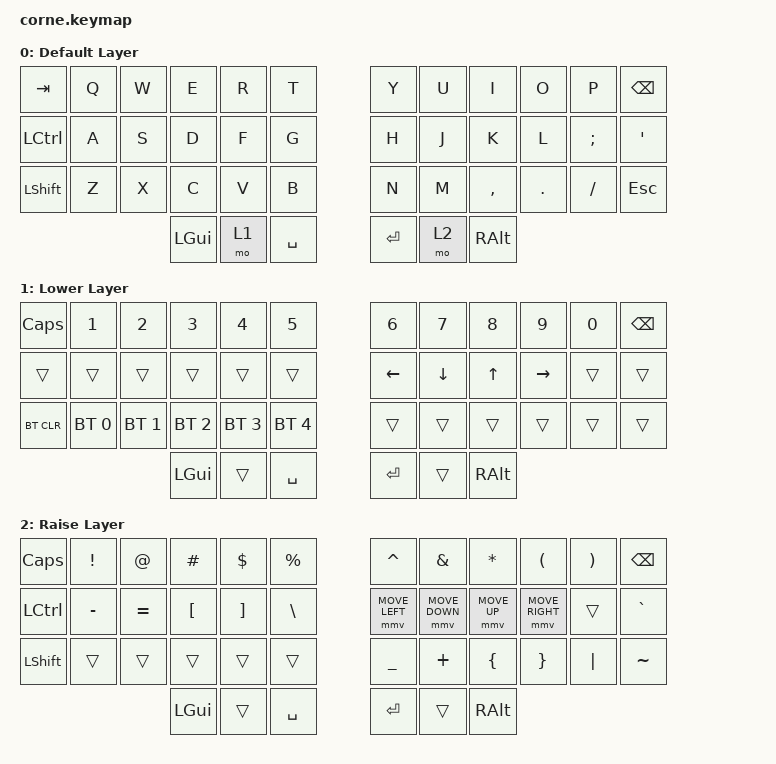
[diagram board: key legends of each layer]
/*
 * Copyright (c) 2020 The ZMK Contributors
 *
 * SPDX-License-Identifier: MIT
 */

#include <behaviors.dtsi>
#include <dt-bindings/zmk/keys.h>
#include <dt-bindings/zmk/bt.h>
#include <dt-bindings/zmk/ext_power.h>
#include <dt-bindings/zmk/pointing.h>
#include <dt-bindings/zmk/mouse.h>

#include "corne_macros.dtsi"

/ {
        behaviors {
                mo1_f18: mo1_f18 {
                        compatible = "zmk,behavior-macro";
                        label = "MO1_F18";
                        #binding-cells = <0>;
                        /* Tap F18 for monitoring while activating layer 1 on hold */
                        bindings = <&mo 1 &kp F18>, <&mo 1>;
                };

                mo2_f19: mo2_f19 {
                        compatible = "zmk,behavior-macro";
                        label = "MO2_F19";
                        #binding-cells = <0>;
                        /* Tap F19 for monitoring while activating layer 2 on hold */
                        bindings = <&mo 2 &kp F19>, <&mo 2>;
                };
        };
};

/ {
        keymap {
                compatible = "zmk,keymap";

                default_layer {
                        display-name = "Default Layer";
// -----------------------------------------------------------------------------------------
// |  TAB |  Q  |  W  |  E  |  R  |  T  |   |  Y  |  U   |  I  |  O  |  P  | BSPC |
// | CTRL |  A  |  S  |  D  |  F  |  G  |   |  H  |  J   |  K  |  L  |  ;  |  '   |
// | SHFT |  Z  |  X  |  C  |  V  |  B  |   |  N  |  M   |  ,  |  .  |  /  | ESC  |
//                    | GUI | LWR | SPC |   | ENT | RSE  | ALT |
                        bindings = <
   &kp TAB   &kp Q &kp W &kp E &kp R &kp T   &kp Y &kp U  &kp I     &kp O   &kp P    &kp BSPC
   &kp LCTRL &kp A &kp S &kp D &kp F &kp G   &kp H &kp J  &kp K     &kp L   &kp SEMI &kp SQT
   &kp LSHFT &kp Z &kp X &kp C &kp V &kp B   &kp N &kp M  &kp COMMA &kp DOT &kp FSLH &kp ESC
                  &kp LGUI &mo 1 &kp SPACE   &kp RET &mo 2 &kp RALT
                        >;
                };
                
                lower_layer {
                        display-name = "Lower Layer";
// -----------------------------------------------------------------------------------------
// | CAPS |  1  |  2  |  3  |  4  |  5  |   |  6  |  7  |  8  |  9  |  0  | BSPC |
// |      |     |     |     |     |     |   | LFT | DWN |  UP | RGT |     |      |
// | BTCLR| BT1 | BT2 | BT3 | BT4 | BT5 |   |     |     |     |     |     |      |
//                    | GUI |     | SPC |   | ENT |     | ALT |
                        bindings = <
   &kp CAPS   &kp N1        &kp N2       &kp N3       &kp N4       &kp N5         &kp N6   &kp N7   &kp N8 &kp N9    &kp N0 &kp BSPC
   &trans     &trans        &trans       &trans       &trans       &trans         &kp LEFT &kp DOWN &kp UP &kp RIGHT &trans &trans
   &bt BT_CLR &bt BT_SEL 0  &bt BT_SEL 1 &bt BT_SEL 2 &bt BT_SEL 3 &bt BT_SEL 4   &trans   &trans   &trans &trans    &trans &trans
                                    &kp LGUI     &trans       &kp SPACE      &kp RET  &trans   &kp RALT
                        >;
                };

                raise_layer {
                        display-name = "Raise Layer";
// -----------------------------------------------------------------------------------------
// | CAPS |  !  |  @  |  #  |  $  |  %  |   |  ^  |  &  |  *  |  (  |  )  | BSPC |
// | CTRL |  -  |  =  |  [  |  ]  |  \  |   | M←  | M↓  | M↑  | M→  |     |  `   |
// | SHFT |     |     |     |     |     |   |  _  |  +  |  {  |  }  | "|" |  ~   |
//                    | GUI |     | SPC |   | ENT |     | ALT |
                        bindings = <
   &kp CAPS  &kp EXCL &kp AT &kp HASH &kp DLLR &kp PRCNT   &kp CARET &kp AMPS  &kp ASTRK &kp LPAR &kp RPAR &kp BSPC
   &kp LCTRL &kp MINUS &kp EQUAL &kp LBKT  &kp RBKT &kp BSLH &mmv MOVE_LEFT &mmv MOVE_DOWN &mmv MOVE_UP &mmv MOVE_RIGHT &trans &kp GRAVE
   &kp LSHFT &trans   &trans &trans   &trans   &trans      &kp UNDER &kp PLUS  &kp LBRC  &kp RBRC &kp PIPE &kp TILDE
                             &kp LGUI &trans   &kp SPACE   &kp RET   &trans    &kp RALT
                        >;
                };
        };
};
